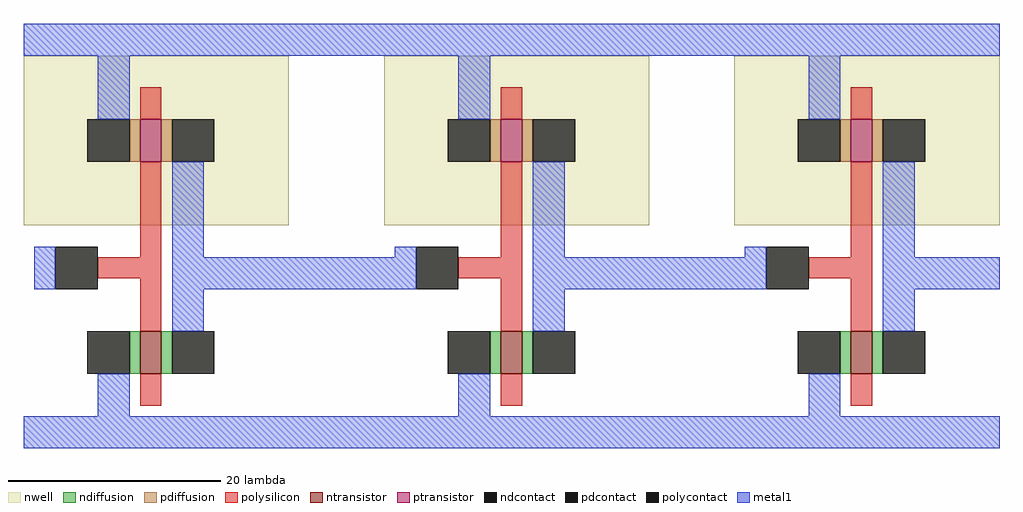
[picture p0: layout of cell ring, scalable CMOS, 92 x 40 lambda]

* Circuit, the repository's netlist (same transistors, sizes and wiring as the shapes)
* SPICE3 file created from ring.ext - technology: scmos

.option scale=0.09u

M1000 NOT_1/in NOT_0/in VDD NOT_0/w_n9_1# CMOSP w=4 l=2
+  ad=20 pd=18 as=60 ps=54
M1001 NOT_1/in NOT_0/in NOT_2/gnd Gnd CMOSN w=4 l=2
+  ad=20 pd=18 as=60 ps=54
M1002 NOT_2/in NOT_1/in VDD NOT_1/w_n9_1# CMOSP w=4 l=2
+  ad=20 pd=18 as=0 ps=0
M1003 NOT_2/in NOT_1/in NOT_2/gnd Gnd CMOSN w=4 l=2
+  ad=20 pd=18 as=0 ps=0
M1004 NOT_2/out NOT_2/in VDD NOT_2/w_n9_1# CMOSP w=4 l=2
+  ad=20 pd=18 as=0 ps=0
M1005 NOT_2/out NOT_2/in NOT_2/gnd Gnd CMOSN w=4 l=2
+  ad=20 pd=18 as=0 ps=0

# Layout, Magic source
magic
tech scmos
<< metal1 >>
rect 23 37 36 40
rect 58 37 68 40
rect 24 15 36 18
rect 58 15 69 18
rect 23 0 36 3
rect 58 0 69 3
use NOT  NOT_2
transform 1 0 76 0 1 20
box -9 -20 16 20
use NOT  NOT_1
transform 1 0 43 0 1 20
box -9 -20 16 20
use NOT  NOT_0
transform 1 0 9 0 1 20
box -9 -20 16 20
<< end >>

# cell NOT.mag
magic
tech scmos
<< nwell >>
rect -9 1 16 17
<< polysilicon >>
rect 2 11 4 14
rect 2 -2 4 7
rect -2 -4 4 -2
rect 2 -9 4 -4
rect 2 -16 4 -13
<< ndiffusion >>
rect 1 -13 2 -9
rect 4 -13 5 -9
<< pdiffusion >>
rect 1 7 2 11
rect 4 7 5 11
<< metal1 >>
rect -9 17 16 20
rect -2 11 1 17
rect -8 -5 -6 -1
rect 5 -2 8 7
rect 5 -5 16 -2
rect 5 -9 8 -5
rect -2 -17 1 -13
rect -9 -20 16 -17
<< ntransistor >>
rect 2 -13 4 -9
<< ptransistor >>
rect 2 7 4 11
<< polycontact >>
rect -6 -5 -2 -1
<< ndcontact >>
rect -3 -13 1 -9
rect 5 -13 9 -9
<< pdcontact >>
rect -3 7 1 11
rect 5 7 9 11
<< labels >>
rlabel metal1 -2 -19 0 -18 1 gnd
rlabel metal1 -5 18 -3 19 4 vdd
rlabel metal1 -8 -4 -7 -2 3 input
rlabel metal1 14 -4 16 -3 7 output
<< end >>
